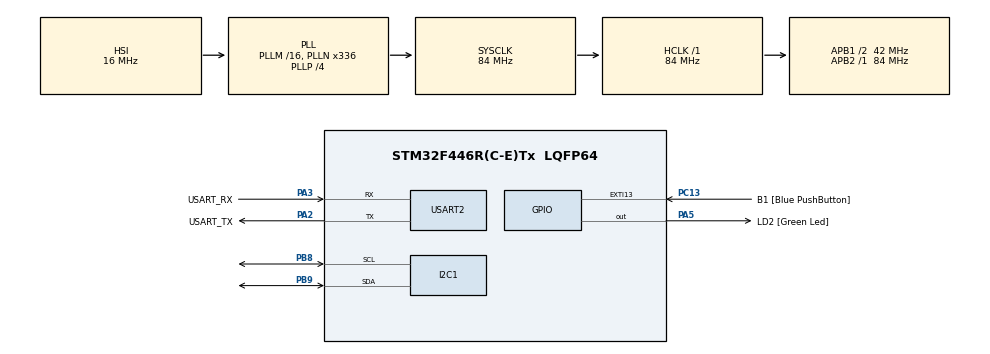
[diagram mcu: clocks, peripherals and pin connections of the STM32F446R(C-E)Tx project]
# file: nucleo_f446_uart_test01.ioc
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FREERTOS.Tasks01=defaultTask,24,128,StartDefaultTask,Default,NULL,Dynamic,NULL,NULL
Mcu.Family=STM32F4
Mcu.Name=STM32F446R(C-E)Tx
Mcu.Package=LQFP64
NVIC.PriorityGroup=NVIC_PRIORITYGROUP_4
PA13.GPIO_Label=TMS
PA13.Mode=Serial_Wire
PA13.Signal=SYS_JTMS-SWDIO
PA14.GPIO_Label=TCK
PA14.Mode=Serial_Wire
PA14.Signal=SYS_JTCK-SWCLK
PA2.GPIO_Label=USART_TX
PA2.Mode=Asynchronous
PA2.Signal=USART2_TX
PA3.GPIO_Label=USART_RX
PA3.Mode=Asynchronous
PA3.Signal=USART2_RX
PA5.GPIO_Label=LD2 [Green Led]
PA5.Signal=GPIO_Output
PB3.GPIO_Label=SWO
PB3.Signal=SYS_JTDO-SWO
PB8.Mode=I2C
PB8.Signal=I2C1_SCL
PB9.Mode=I2C
PB9.Signal=I2C1_SDA
PC13.GPIO_Label=B1 [Blue PushButton]
PC13.GPIO_ModeDefaultEXTI=GPIO_MODE_IT_FALLING
PC13.Signal=GPXTI13
PC14-OSC32_IN.Mode=LSE-External-Oscillator
PC14-OSC32_IN.Signal=RCC_OSC32_IN
PC15-OSC32_OUT.Mode=LSE-External-Oscillator
PC15-OSC32_OUT.Signal=RCC_OSC32_OUT
PH0-OSC_IN.Mode=HSE-External-Oscillator
PH0-OSC_IN.Signal=RCC_OSC_IN
PH1-OSC_OUT.Mode=HSE-External-Oscillator
PH1-OSC_OUT.Signal=RCC_OSC_OUT
ProjectManager.HeapSize=0x200
ProjectManager.StackSize=0x400
ProjectManager.TargetToolchain=STM32CubeIDE
RCC.48MHZClocksFreq_Value=84000000
RCC.AHBFreq_Value=84000000
RCC.APB1CLKDivider=RCC_HCLK_DIV2
RCC.APB1Freq_Value=42000000
RCC.APB1TimFreq_Value=84000000
RCC.APB2Freq_Value=84000000
RCC.APB2TimFreq_Value=84000000
RCC.CortexFreq_Value=84000000
RCC.FLatency-AdvancedSettings=FLASH_LATENCY_2
RCC.HCLKFreq_Value=84000000
RCC.HSE_VALUE=8000000
RCC.HSI_VALUE=16000000
RCC.PLLN=336
RCC.PLLP=RCC_PLLP_DIV4
RCC.SYSCLKFreq_VALUE=84000000
RCC.SYSCLKSource=RCC_SYSCLKSOURCE_PLLCLK
RCC.USBFreq_Value=168000000
RCC.VCOOutputFreq_Value=336000000
USART2.VirtualMode=VM_ASYNC
VP_FREERTOS_VS_CMSIS_V2.Mode=CMSIS_V2
board=NUCLEO-F446RE

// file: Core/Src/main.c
/* USER CODE BEGIN Header */
/**
  ******************************************************************************
  * @file           : main.c
  * @brief          : Main program body
  ******************************************************************************
  * @attention
  *
  * Copyright (c) 2026 STMicroelectronics.
  * All rights reserved.
  *
  * This software is licensed under terms that can be found in the LICENSE file
  * in the root directory of this software component.
  * If no LICENSE file comes with this software, it is provided AS-IS.
  *
  ******************************************************************************
  */
/* USER CODE END Header */
#include "main.h"
#include "cmsis_os.h"
#include "i2c.h"
#include "usart.h"
#include "gpio.h"

/* USER CODE BEGIN Includes */
#include <stdio.h>
#include <stdint.h>

#include "ic_logger.h"
#include "ic_app.h"
/* USER CODE END Includes */

void SystemClock_Config(void);
void MX_FREERTOS_Init(void);

/* USER CODE BEGIN 0 */
int _write(int file, char *ptr, int len) //讓東西顯示在 com3可以從 putty看
{
  HAL_UART_Transmit(&huart2, (uint8_t*)ptr, len, HAL_MAX_DELAY);
  return len;
}
/* USER CODE END 0 */

int main(void)
{

  /* MCU Configuration--------------------------------------------------------*/

  /* Reset of all peripherals, Initializes the Flash interface and the Systick. */
  HAL_Init();

  /* Configure the system clock */
  SystemClock_Config();

  /* Initialize all configured peripherals */
  MX_GPIO_Init();
  MX_USART2_UART_Init();
  MX_I2C1_Init();
  /* USER CODE BEGIN 2 */
  ic_log_init(&huart2);     // logger 綁定 UART2, move to RTOS, add it back
  osKernelInitialize();  /* Call init function for freertos objects (in cmsis_os2.c) */
  MX_FREERTOS_Init();

  //ic_app_init();            // move to RTOS StartDefaultTask
  /* USER CODE END 2 */

  /* Init scheduler */

  /* Start scheduler */
  osKernelStart();

  /* We should never get here as control is now taken by the scheduler */

  /* Infinite loop */
  /* USER CODE BEGIN WHILE */

  while (1)
  {
      //ic_app_run();         // move to RTOS
  }

  while (1)
  {
    /* USER CODE END WHILE */

  }
}

void SystemClock_Config(void)
{
  RCC_OscInitTypeDef RCC_OscInitStruct = {0};
  RCC_ClkInitTypeDef RCC_ClkInitStruct = {0};

  /** Configure the main internal regulator output voltage
  */
  __HAL_RCC_PWR_CLK_ENABLE();
  __HAL_PWR_VOLTAGESCALING_CONFIG(PWR_REGULATOR_VOLTAGE_SCALE3);

  /** Initializes the RCC Oscillators according to the specified parameters
  * in the RCC_OscInitTypeDef structure.
  */
  RCC_OscInitStruct.OscillatorType = RCC_OSCILLATORTYPE_HSI;
  RCC_OscInitStruct.HSIState = RCC_HSI_ON;
  RCC_OscInitStruct.HSICalibrationValue = RCC_HSICALIBRATION_DEFAULT;
  RCC_OscInitStruct.PLL.PLLState = RCC_PLL_ON;
  RCC_OscInitStruct.PLL.PLLSource = RCC_PLLSOURCE_HSI;
  RCC_OscInitStruct.PLL.PLLM = 16;
  RCC_OscInitStruct.PLL.PLLN = 336;
  RCC_OscInitStruct.PLL.PLLP = RCC_PLLP_DIV4;
  RCC_OscInitStruct.PLL.PLLQ = 2;
  RCC_OscInitStruct.PLL.PLLR = 2;
  if (HAL_RCC_OscConfig(&RCC_OscInitStruct) != HAL_OK)
  {
    Error_Handler();
  }

  /** Initializes the CPU, AHB and APB buses clocks
  */
  RCC_ClkInitStruct.ClockType = RCC_CLOCKTYPE_HCLK|RCC_CLOCKTYPE_SYSCLK
                              |RCC_CLOCKTYPE_PCLK1|RCC_CLOCKTYPE_PCLK2;
  RCC_ClkInitStruct.SYSCLKSource = RCC_SYSCLKSOURCE_PLLCLK;
  RCC_ClkInitStruct.AHBCLKDivider = RCC_SYSCLK_DIV1;
  RCC_ClkInitStruct.APB1CLKDivider = RCC_HCLK_DIV2;
  RCC_ClkInitStruct.APB2CLKDivider = RCC_HCLK_DIV1;

  if (HAL_RCC_ClockConfig(&RCC_ClkInitStruct, FLASH_LATENCY_2) != HAL_OK)
  {
    Error_Handler();
  }
}

void Error_Handler(void)
{
  __disable_irq();
  while (1)
  {
  }
}
#ifdef USE_FULL_ASSERT
/**
  * @brief  Reports the name of the source file and the source line number
  *         where the assert_param error has occurred.
  * @param  file: pointer to the source file name
  * @param  line: assert_param error line source number
  * @retval None
  */
void assert_failed(uint8_t *file, uint32_t line)
{
  /* USER CODE BEGIN 6 */
  /* User can add his own implementation to report the file name and line number,
     ex: ic_log_printf("Wrong parameters value: file %s on line %d\r\n", file, line) */
  /* USER CODE END 6 */
}
#endif /* USE_FULL_ASSERT */

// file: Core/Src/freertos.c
/* USER CODE BEGIN Header */
/**
  ******************************************************************************
  * File Name          : freertos.c
  * Description        : Code for freertos applications
  ******************************************************************************
  * @attention
  *
  * Copyright (c) 2026 STMicroelectronics.
  * All rights reserved.
  *
  * This software is licensed under terms that can be found in the LICENSE file
  * in the root directory of this software component.
  * If no LICENSE file comes with this software, it is provided AS-IS.
  *
  ******************************************************************************
  */
/* USER CODE END Header */

#include "FreeRTOS.h"
#include "task.h"
#include "main.h"
#include "cmsis_os.h"

/* USER CODE BEGIN Includes */

#include "ic_app.h"
#include "ic_logger.h"
#include "usart.h"      // 為了拿到 huart2
#include "ic_logger.h"  // new log

/* USER CODE END Includes */

/* Definitions for defaultTask */
osThreadId_t defaultTaskHandle;
const osThreadAttr_t defaultTask_attributes = {
  .name = "defaultTask",
  .stack_size = 512 * 4, //128*4 too small
  .priority = (osPriority_t) osPriorityNormal,
};
/* USER CODE BEGIN FunctionPrototypes */

/* IC: RTOS task define*/
osThreadId_t ledTaskHandle;
osThreadId_t tofTaskHandle;
osThreadId_t tempTaskHandle;

/* I2C mutex，用來保護 BMP280 / VL53L0X 的 I2C 存取 */
osMutexId_t i2cMutexHandle;

/* Logger queue + task */
osMessageQueueId_t g_log_queue;
osThreadId_t logTaskHandle;

osEventFlagsId_t g_app_init_done;
osEventFlagsId_t g_app_error_flags; //ic 260227

/* USER CODE END FunctionPrototypes */

void StartDefaultTask(void *argument);

void MX_FREERTOS_Init(void); /* (MISRA C 2004 rule 8.1) */

void MX_FREERTOS_Init(void) {
  /* USER CODE BEGIN Init */

  /* IC: 建立 init 完成旗標 */
  g_app_init_done = osEventFlagsNew(NULL);
  g_app_error_flags = osEventFlagsNew(NULL); //ic 260227

  /* USER CODE END Init */

  /* Create the thread(s) */
  /* creation of defaultTask */
  defaultTaskHandle = osThreadNew(StartDefaultTask, NULL, &defaultTask_attributes);

  /* USER CODE BEGIN RTOS_THREADS */
  /* add threads, ... */

  /* IC: New log thread*/
  /* ---------- 建立 Log Queue ---------- */
  const osMessageQueueAttr_t logQueue_attributes = {
    .name = "logQueue"
  };
  g_log_queue = osMessageQueueNew(
      16,                     // queue 深度：一次最多排 16 條訊息
      sizeof(ic_log_msg_t),   // 每個元素大小
      &logQueue_attributes);

  /* ---------- 建立 Logger Task ---------- */
  const osThreadAttr_t logTask_attributes = {
    .name       = "logTask",
    .priority   = (osPriority_t)osPriorityLow, // log 優先權可以低一點
    //.priority   = (osPriority_t)osPriorityHigh,
    .stack_size =  512 * 4 //1024* 4
  };
  logTaskHandle = osThreadNew(ic_log_task, NULL, &logTask_attributes);

  /* IC: RTOS task define*/
  // 1) 建 I2C mutex
  const osMutexAttr_t i2cMutex_attributes = {
    .name = "i2cMutex"
  };
  i2cMutexHandle = osMutexNew(&i2cMutex_attributes);

  // 2) 建 LED task
  const osThreadAttr_t ledTask_attributes = {
    .name       = "ledTask",
    .priority   = (osPriority_t)osPriorityLow,
    .stack_size = 256 *4 //128 * 4    // 原本 128 * 4，先拉大到 4KB
  };
  ledTaskHandle = osThreadNew(ic_app_led_task, NULL, &ledTask_attributes);

  // 3) 建 TOF task
  const osThreadAttr_t tofTask_attributes = {
    .name       = "tofTask",
    .priority   = (osPriority_t)osPriorityNormal,
    .stack_size = 256 * 4    // 原本 128 * 4
  };
  tofTaskHandle = osThreadNew(ic_app_tof_task, NULL, &tofTask_attributes);

  // 4) 建 Temp task
  const osThreadAttr_t tempTask_attributes = {
    .name       = "tempTask",
    .priority   = (osPriority_t)osPriorityBelowNormal,
    .stack_size = 256 * 4    // 原本 256 * 4
  };
  tempTaskHandle = osThreadNew(ic_app_temp_task, NULL, &tempTask_attributes);

  /* USER CODE END RTOS_THREADS */

}

void StartDefaultTask(void *argument)
{
  /* USER CODE BEGIN StartDefaultTask */
  //ic_log_init(&huart2);
  ic_app_init();

  /* Infinite loop */
  for(;;)
  {
    osDelay(10);
  }
  /* USER CODE END StartDefaultTask */
}
